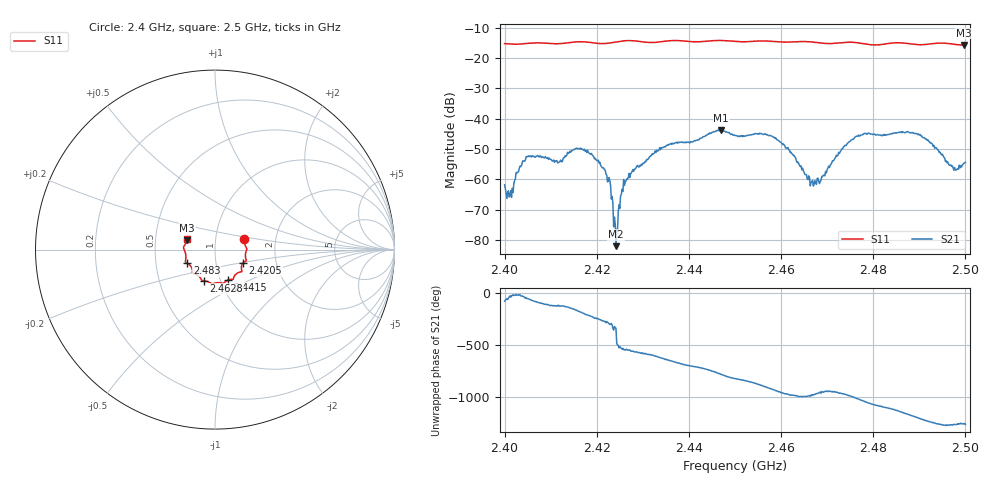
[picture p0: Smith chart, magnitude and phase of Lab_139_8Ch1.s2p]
# Hz S RI R 50
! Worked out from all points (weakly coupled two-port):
!   601 points, 2.4 GHz to 2.5 GHz, reference 50 ohm
!   highest |S21| = -43.77 dB at 2.447 GHz (marker M1); lowest = -82.0 dB at 2.4242 GHz (marker M2)
!   lowest |S11| = -15.7 dB at 2.4997 GHz (marker M3), VSWR 1.39, Z = 36.4 + j4 ohm
!   |S11| at or under -10 dB: start of sweep to end of sweep
!   S12 and S22 are empty: the file has one direction only
!   S11 on the Smith chart (normalised r, x): 2.4 GHz: 1.38, +0.16; 2.4205 GHz: 1.35, -0.21; 2.4415 GHz: 1.09, -0.38; 2.4628 GHz: 0.83, -0.30; 2.483 GHz: 0.73, -0.11; 2.5 GHz: 0.73, +0.09
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2.4e9  0.1629 0.0564  0.000139 -0.0008  0 0  0 0
2.4015e9  0.1639 0.0415  0.000448 -0.00023  0 0  0 0
2.405167e9  0.1741 0.0123  0.0013 -0.00206  0 0  0 0
2.416667e9  0.1741 -0.0625  -0.00312 0.000377  0 0  0 0
2.4205e9  0.1554 -0.0762  -0.000586 0.00177  0 0  0 0
2.4225e9  0.1476 -0.0935  0.000299 0.000884  0 0  0 0
2.424167e9  0.1477 -0.1087  7.42e-05 2.71e-05  0 0  0 0
2.426333e9  0.1503 -0.1204  -0.00094 4.79e-05  0 0  0 0
2.433333e9  0.1079 -0.1472  -0.000867 0.00281  0 0  0 0
2.4415e9  0.0733 -0.1692  0.00428 0.000913  0 0  0 0
2.447e9  0.0452 -0.1887  0.00335 -0.00554  0 0  0 0
2.45e9  0.0296 -0.1848  -0.001 -0.00518  0 0  0 0
2.458e9  -0.0245 -0.186  -0.00474 0.00194  0 0  0 0
2.462833e9  -0.062 -0.1736  -0.000344 0.00245  0 0  0 0
2.466667e9  -0.0766 -0.1665  -0.000112 0.000886  0 0  0 0
2.476333e9  -0.126 -0.127  0.00166 0.00486  0 0  0 0
2.483e9  -0.1542 -0.0759  0.00509 -0.00184  0 0  0 0
2.483333e9  -0.1564 -0.0745  0.005 -0.00227  0 0  0 0
2.489667e9  -0.162 -0.0338  -0.00229 -0.00492  0 0  0 0
2.4975e9  -0.1657 0.0293  -0.00141 -2.72e-05  0 0  0 0
2.499667e9  -0.1543 0.0534  -0.00182 -0.00022  0 0  0 0
2.5e9  -0.1535 0.0578  -0.00191 -2.89e-05  0 0  0 0
